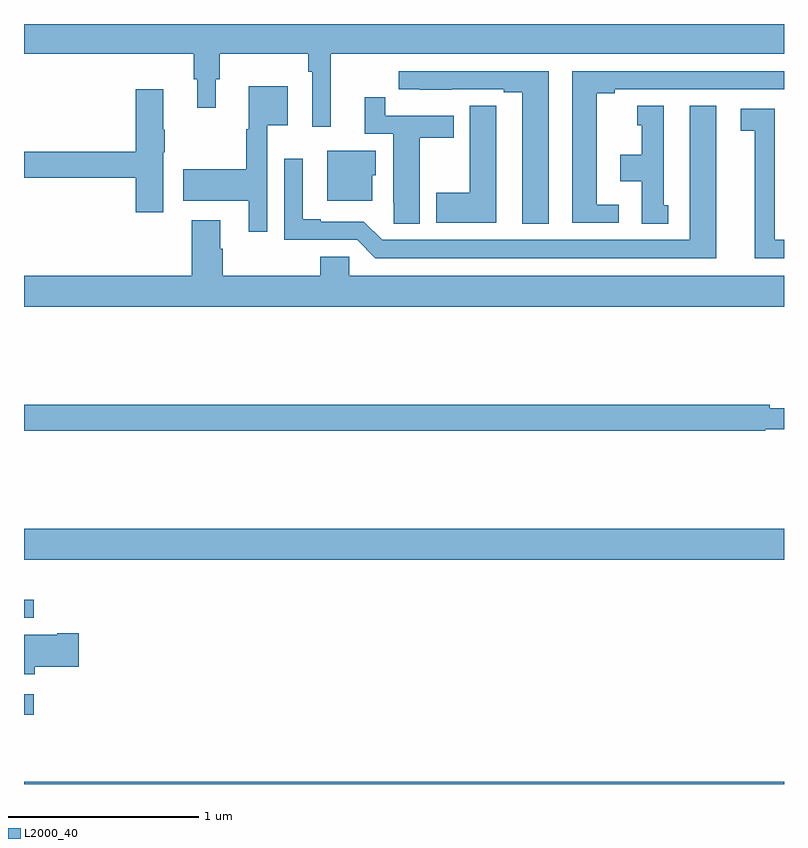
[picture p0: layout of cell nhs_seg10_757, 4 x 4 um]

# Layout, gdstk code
import gdstk
lib = gdstk.Library(unit=1e-6, precision=1e-09)
def R(c, l, rs):  # rectangles x0, y0, x1, y1
    for r in rs: c.add(gdstk.rectangle(r[:2], r[2:], *l))
def P(c, l, *ps):  # polygons
    for p in ps: c.add(gdstk.Polygon(p, *l))
L2000_40 = (2000, 40)

nhs_seg10_757 = lib.new_cell('nhs_seg10_757')
R(nhs_seg10_757, L2000_40, [(149,1268.5,153,1268.512), (149,1268.865,149.05,1268.973), (149,1269.375,149.05,1269.471), (149,1269.68,153,1269.844)])
P(nhs_seg10_757, L2000_40, [(150.614,1272.344),(153,1272.344),(153,1272.5),(149,1272.5),(149,1272.344),(149.893,1272.344),(149.893,1272.21),(149.912,1272.21),(149.912,1272.06),(150.01,1272.06),(150.01,1272.21),(150.029,1272.21),(150.029,1272.344),(150.496,1272.344),(150.496,1272.248),(150.516,1272.248),(150.516,1271.958),(150.614,1271.958)],
  [(152.131,1271.55),(152.014,1271.55),(152.014,1272.136),(152.11,1272.136),(152.11,1272.156),(153,1272.156),(153,1272.252),(151.886,1272.252),(151.886,1271.454),(152.131,1271.454)],
  [(151.762,1272.252),(150.972,1272.252),(150.972,1272.156),(151.084,1272.156),(151.084,1272.155),(151.25,1272.155),(151.25,1272.156),(151.526,1272.156),(151.526,1272.141),(151.622,1272.141),(151.622,1271.449),(151.762,1271.449)],
  [(150.279,1271.966),(150.388,1271.966),(150.388,1272.172),(150.182,1272.172),(150.182,1271.946),(150.171,1271.946),(150.171,1271.736),(149.838,1271.736),(149.838,1271.57),(150.182,1271.57),(150.182,1271.406),(150.279,1271.406)],
  [(149.734,1271.824),(149.742,1271.824),(149.742,1271.944),(149.734,1271.944),(149.734,1272.157),(149.588,1272.157),(149.588,1271.828),(149,1271.828),(149,1271.692),(149.588,1271.692),(149.588,1271.508),(149.734,1271.508)],
  [(151.084,1271.902),(151.261,1271.902),(151.261,1272.018),(150.902,1272.018),(150.902,1272.115),(150.794,1272.115),(150.794,1271.922),(150.944,1271.922),(150.944,1271.56),(150.945,1271.56),(150.945,1271.449),(151.084,1271.449)],
  [(151.486,1271.963),(151.485,1271.963),(151.485,1272.071),(151.346,1272.071),(151.346,1271.613),(151.169,1271.613),(151.169,1271.453),(151.486,1271.453)],
  [(152.644,1272.07),(152.504,1272.07),(152.504,1271.364),(150.885,1271.364),(150.789,1271.46),(150.562,1271.46),(150.562,1271.473),(150.466,1271.473),(150.466,1271.791),(150.369,1271.791),(150.369,1271.364),(150.753,1271.364),(150.849,1271.268),(152.644,1271.268)],
  [(152.392,1271.547),(152.368,1271.547),(152.368,1272.07),(152.228,1272.07),(152.228,1271.967),(152.252,1271.967),(152.252,1271.812),(152.138,1271.812),(152.138,1271.672),(152.252,1271.672),(152.252,1271.449),(152.392,1271.449)],
  [(153,1271.364),(152.95,1271.364),(152.95,1272.054),(152.772,1272.054),(152.772,1271.938),(152.846,1271.938),(152.846,1271.268),(153,1271.268)],
  [(150.832,1271.703),(150.85,1271.703),(150.85,1271.833),(150.596,1271.833),(150.596,1271.57),(150.832,1271.57)],
  [(153,1271.176),(150.711,1271.176),(150.711,1271.274),(150.56,1271.274),(150.56,1271.176),(150.047,1271.176),(150.047,1271.318),(150.034,1271.318),(150.034,1271.467),(149.882,1271.467),(149.882,1271.176),(149,1271.176),(149,1271.012),(153,1271.012)],
  [(152.902,1270.368),(153,1270.368),(153,1270.477),(152.924,1270.477),(152.924,1270.496),(149,1270.496),(149,1270.36),(152.902,1270.36)],
  [(149.056,1269.116),(149.287,1269.116),(149.287,1269.294),(149.174,1269.294),(149.174,1269.286),(149,1269.286),(149,1269.077),(149.056,1269.077)])

lib.write_gds('nhs_seg10_757.gds')
